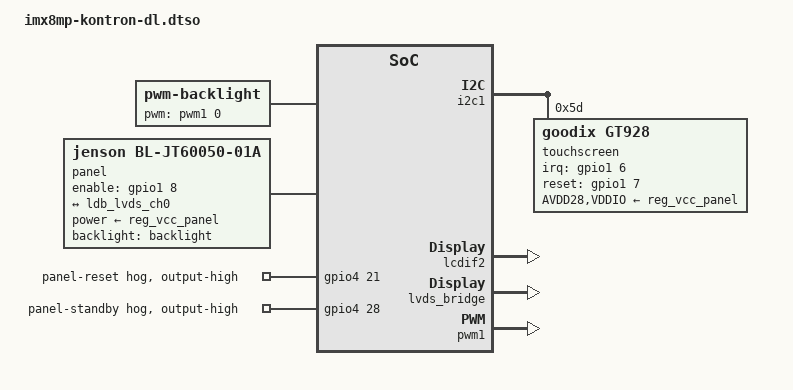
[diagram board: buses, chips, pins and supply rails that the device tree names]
// SPDX-License-Identifier: GPL-2.0+ OR MIT
/*
 * Copyright (C) 2023 Kontron Electronics GmbH
 */

/dts-v1/;
/plugin/;

#include <dt-bindings/gpio/gpio.h>
#include "imx8mp-pinfunc.h"

&{/} {
	model = "Kontron DL i.MX8MP OSM-S";
	compatible = "kontron,imx8mp-bl-osm-s", "kontron,imx8mp-osm-s", "fsl,imx8mp";

	backlight: backlight {
		compatible = "pwm-backlight";
		pwms = <&pwm1 0 50000 0>;
		brightness-levels = <0 100>;
		num-interpolated-steps = <100>;
		default-brightness-level = <100>;
	};

	panel {
		compatible = "jenson,bl-jt60050-01a", "panel-lvds";
		backlight = <&backlight>;
		data-mapping = "vesa-24";
		enable-gpios = <&gpio1 8 GPIO_ACTIVE_HIGH>;
		power-supply = <&reg_vcc_panel>;
		height-mm = <86>;
		width-mm = <154>;

		panel-timing {
			clock-frequency = <50000000>;
			hactive = <1024>;
			hback-porch = <160>;
			hfront-porch = <160>;
			hsync-len = <1>;
			vactive = <600>;
			vback-porch = <23>;
			vfront-porch = <12>;
			vsync-len = <1>;
		};

		port {
			panel_in_lvds0: endpoint {
				remote-endpoint = <&ldb_lvds_ch0>;
			};
		};
	};
};

&gpio4 {
	pinctrl-names = "default";
	pinctrl-0 = <&pinctrl_gpio4>, <&pinctrl_panel_stby>;

	panel-rst-hog {
		gpio-hog;
		gpios = <21 GPIO_ACTIVE_HIGH>;
		output-high;
		line-name = "panel-reset";
	};

	panel-stby-hog {
		gpio-hog;
		gpios = <28 GPIO_ACTIVE_HIGH>;
		output-high;
		line-name = "panel-standby";
	};
};

&i2c1 {
	#address-cells = <1>;
	#size-cells = <0>;
	status = "okay";

	touchscreen@5d {
		compatible = "goodix,gt928";
		reg = <0x5d>;
		pinctrl-names = "default";
		pinctrl-0 = <&pinctrl_touch>;
		interrupt-parent = <&gpio1>;
		interrupts = <6 8>;
		irq-gpios = <&gpio1 6 0>;
		AVDD28-supply = <&reg_vcc_panel>;
		VDDIO-supply = <&reg_vcc_panel>;
		reset-gpios = <&gpio1 7 0>;
	};
};

&lcdif2 {
	status = "okay";
};

&ldb_lvds_ch0 {
	remote-endpoint = <&panel_in_lvds0>;
};

&lvds_bridge {
	status = "okay";
};

/* redefine to remove touch controller GPIOs */
&pinctrl_gpio1 {
	fsl,pins = <
		MX8MP_IOMUXC_GPIO1_IO00__GPIO1_IO00		0x19 /* GPIO_A_0 */
		MX8MP_IOMUXC_GPIO1_IO01__GPIO1_IO01		0x19 /* GPIO_A_1 */
		MX8MP_IOMUXC_GPIO1_IO05__GPIO1_IO05		0x19 /* GPIO_A_2 */
		MX8MP_IOMUXC_GPIO1_IO08__GPIO1_IO08		0x19 /* GPIO_A_5 */
	>;
};

&pwm1 {
	status = "okay";
};

&iomuxc {
	pinctrl_panel_stby: panelstbygrp {
		fsl,pins = <
			MX8MP_IOMUXC_SAI3_RXFS__GPIO4_IO28		0x19
		>;
	};

	pinctrl_touch: touchgrp {
		fsl,pins = <
			MX8MP_IOMUXC_GPIO1_IO06__GPIO1_IO06		0x19
			MX8MP_IOMUXC_GPIO1_IO07__GPIO1_IO07		0x150
		>;
	};
};
